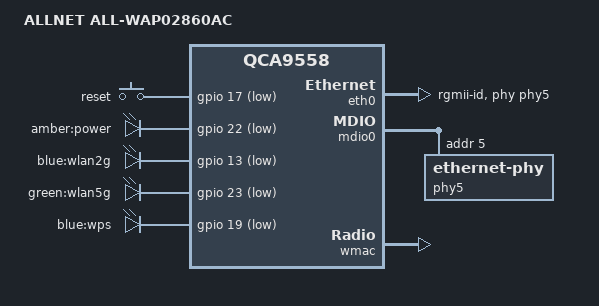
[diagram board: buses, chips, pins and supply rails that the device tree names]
// SPDX-License-Identifier: GPL-2.0-or-later OR MIT

#include "qca955x_senao_loader.dtsi"

#include <dt-bindings/gpio/gpio.h>
#include <dt-bindings/input/input.h>

/ {
	compatible = "allnet,all-wap02860ac", "qca,qca9558";
	model = "ALLNET ALL-WAP02860AC";

	aliases {
		label-mac-device = &eth0;
		led-boot = &led_power;
		led-failsafe = &led_power;
		led-running = &led_power;
		led-upgrade = &led_power;
	};

	keys {
		compatible = "gpio-keys";

		reset {
			label = "reset";
			gpios = <&gpio 17 GPIO_ACTIVE_LOW>;
			debounce-interval = <60>;
			linux,code = <KEY_RESTART>;
		};
	};

	leds {
		compatible = "gpio-leds";

		led_power: power {
			label = "amber:power";
			gpios = <&gpio 22 GPIO_ACTIVE_LOW>;
			default-state = "on";
		};

		wlan2g {
			label = "blue:wlan2g";
			gpios = <&gpio 13 GPIO_ACTIVE_LOW>;
			linux,default-trigger = "phy1tpt";
		};

		wlan5g {
			label = "green:wlan5g";
			gpios = <&gpio 23 GPIO_ACTIVE_LOW>;
			linux,default-trigger = "phy0tpt";
		};

		wps {
			label = "blue:wps";
			gpios = <&gpio 19 GPIO_ACTIVE_LOW>;
		};
	};
};

&eth0 {
	status = "okay";

	nvmem-cells = <&macaddr_art_0>;
	nvmem-cell-names = "mac-address";

	phy-handle = <&phy5>;
	phy-mode = "rgmii-id";

	pll-data = <0x82000000 0x80000101 0x80001313>;
};

&mdio0 {
	status = "okay";

	phy5: ethernet-phy@5 {
		reg = <5>;
		eee-broken-100tx;
		eee-broken-1000t;
	};
};

&partitions {
	art: partition@ff0000 {
		label = "art";
		reg = <0xff0000 0x010000>;
		read-only;
	};
};

&wmac {
	status = "okay";

	mtd-cal-data = <&art 0x1000>;
	nvmem-cells = <&macaddr_art_0>;
	nvmem-cell-names = "mac-address";
	mac-address-increment = <1>;
};

&art {
	compatible = "nvmem-cells";
	#address-cells = <1>;
	#size-cells = <1>;

	macaddr_art_0: macaddr@0 {
		reg = <0x0 0x6>;
	};
};
